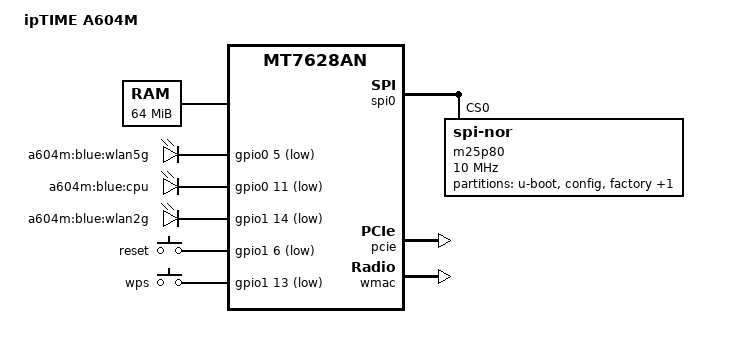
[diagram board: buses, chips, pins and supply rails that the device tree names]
/dts-v1/;

#include "mt7628an.dtsi"

#include <dt-bindings/gpio/gpio.h>
#include <dt-bindings/input/input.h>

/ {
	compatible = "iptime,a604m", "mediatek,mt7628an-soc";
	model = "ipTIME A604M";

	memory@0 {
		device_type = "memory";
		reg = <0x0 0x4000000>;
	};

	gpio-leds {
		compatible = "gpio-leds";

		wlan5g {
			label = "a604m:blue:wlan5g";
			gpios = <&gpio0 5 GPIO_ACTIVE_LOW>;
		};

		cpu {
			label = "a604m:blue:cpu";
			gpios = <&gpio0 11 GPIO_ACTIVE_LOW>;
		};

		wlan2g {
			label = "a604m:blue:wlan2g";
			gpios = <&gpio1 14 GPIO_ACTIVE_LOW>;
		};
	};

	gpio-keys-polled {
		compatible = "gpio-keys-polled";
		#address-cells = <1>;
		#size-cells = <0>;
		poll-interval = <20>;

		reset {
			label = "reset";
			gpios = <&gpio1 6 GPIO_ACTIVE_LOW>;
			linux,code = <KEY_RESTART>;
		};

		wps {
			label = "wps";
			gpios = <&gpio1 13 GPIO_ACTIVE_LOW>;
			linux,code = <KEY_WPS_BUTTON>;
		};
	};
};

&spi0 {
	status = "okay";

	m25p80@0 {
		#address-cells = <1>;
		#size-cells = <1>;
		compatible = "jedec,spi-nor";
		reg = <0>;
		spi-max-frequency = <10000000>;
		m25p,chunked-io = <32>;

		uboot: partition@0 {
			label = "u-boot";
			reg = <0x0 0x20000>;
			read-only;
		};

		partition@20000 {
			label = "config";
			reg = <0x20000 0x10000>;
			read-only;
		};

		factory: partition@30000 {
			label = "factory";
			reg = <0x30000 0x10000>;
			read-only;
		};

		partition@40000 {
			label = "firmware";
			reg = <0x40000 0x7c0000>;
		};
	};
};

&pinctrl {
	state_default: pinctrl0 {
		gpio {
			ralink,group = "i2c", "uart1", "wdt";
			ralink,function = "gpio";
		};
	};
};

&ehci {
	status = "disabled";
};

&ohci {
	status = "disabled";
};

&ethernet {
	mtd-mac-address = <&uboot 0x1fc20>;
};

&pcie {
	status = "okay";

	pcie-bridge {
		mt76@1,0 {
			reg = <0x0000 0 0 0 0>;
			device_type = "pci";
			mediatek,mtd-eeprom = <&factory 0x8000>;
			ieee80211-freq-limit = <5000000 6000000>;
		};
	};
};

&wmac {
	status = "okay";
};
